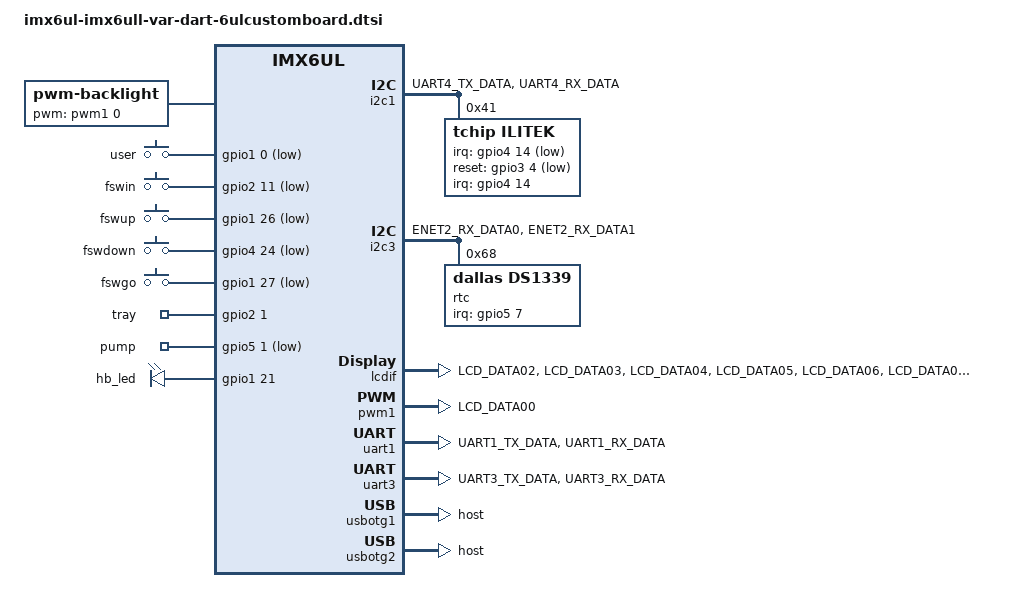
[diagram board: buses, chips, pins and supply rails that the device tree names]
/*
 * Copyright (C) 2015-2019 Variscite Ltd. - https://www.variscite.com
 *
 * This program is free software; you can redistribute it and/or modify
 * it under the terms of the GNU General Public License version 2 as
 * published by the Free Software Foundation.
 */

/ {
	backlight {
		compatible = "pwm-backlight";
		pwms = <&pwm1 0 20000>;
		brightness-levels = <0 4 8 16 32 64 128 255>;
		default-brightness-level = <6>;
		status = "okay";
	};

	chosen {
		stdout-path = &uart1;
	};

	keys {
		compatible = "gpio-keys";
		pinctrl-names = "default";
		pinctrl-0 = <&pinctrl_gpio_keys>;

		user {
			/*GPIO switch button on EVK*/
			gpios = <&gpio1 0 GPIO_ACTIVE_LOW>;
                        //gpios = <&gpio2 11 GPIO_ACTIVE_LOW>;
                        
		};
		/*FootSwitch In*/
                fswin {
			gpios = <&gpio2 11 GPIO_ACTIVE_LOW>;
		};
		/*FootSwitch Up*/
                fswup {
			gpios = <&gpio1 26 GPIO_ACTIVE_LOW>;
		};

		/*FootSwitch Down*/
                fswdown {
			gpios = <&gpio4 24 GPIO_ACTIVE_LOW>;
		};
                /*FootSwitch Go*/
                fswgo {
			gpios = <&gpio1 27 GPIO_ACTIVE_LOW>;
		};
		/*Tray sensor */
                tray {
			gpios = <&gpio2 1 GPIO_ACTIVE_HIGH>;
		};
                
		/*Pump Sensor */
                pump {
			gpios = <&gpio5 1 GPIO_ACTIVE_LOW>;
		};
	};

	leds {
		compatible = "gpio-leds";
		pinctrl-names = "default";
		pinctrl-0 = <&pinctrl_gpio_leds>;
		
		hb_led {
			gpios = <&gpio1 21 GPIO_ACTIVE_HIGH>;
			linux,default-trigger = "heartbeat";
		};

	};
};


&i2c1 {
	clock_frequency = <400000>;
	pinctrl-names = "default";
	pinctrl-0 = <&pinctrl_i2c1>;
	status = "okay";
	ilitek@41 {
		compatible = "tchip,ilitek";
		reg = <0x41>;
		pinctrl-names = "default";
		pinctrl-0 = <&pinctrl_ilitek_ts_gpio>;
		interrupt-parent = <&gpio4>;
                interrupts = <14 IRQ_TYPE_EDGE_FALLING>;
		vdd-supply;
		vcc_i2c-supply;
                ilitek,irq-gpio = <&gpio4 14 GPIO_ACTIVE_LOW>;
                ilitek,reset-gpio = <&gpio3 4 GPIO_ACTIVE_LOW>;
                ilitek,vbus = "vcc_i2c";
                ilitek,vdd = "vdd";
                ilitek,name = "ilitek_i2c";
        };	
};

&i2c2 {

};

/* DS1339 RTC module */
&i2c3 {
	clock_frequency = <400000>;
	pinctrl-names = "default";
	pinctrl-0 = <&pinctrl_i2c3>;
	status = "okay";
        rtc@68 {
		compatible = "dallas,ds1339";
		reg = <0x68>;
		pinctrl-names = "default";
		pinctrl-0 = <&pinctrl_rtc>;
		interrupt-parent = <&gpio5>;
		interrupts = <7 IRQ_TYPE_EDGE_FALLING>;
	};	
};

&iomuxc {
	/* Ilitek Touchscreen */
        pinctrl_ilitek_ts_gpio: ilitek_ts_gpiogrp {
		fsl,pins = <
			MX6UL_PAD_NAND_CE1_B__GPIO4_IO14	0x80000000
			MX6UL_PAD_LCD_RESET__GPIO3_IO04		0x80000000
		>;			
	};
	

	pinctrl_ft5x06_ts_gpio: ft5x06_ts_gpiogrp {
		fsl,pins = <
			MX6UL_PAD_LCD_RESET__GPIO3_IO04		0x80000000
		>;
	};

	pinctrl_gpio_keys: gpio_keysgrp {
		fsl,pins = <
			//MX6UL_PAD_GPIO1_IO00__GPIO1_IO00	0x17059 /* User Button		active low      */
			MX6UL_PAD_ENET2_TX_DATA0__GPIO2_IO11    0x17059 /* Foot Switch In 	active low	*/
                        MX6UL_PAD_UART3_CTS_B__GPIO1_IO26	0x17059 /* Foot Switch Up 	active low	*/
                        MX6UL_PAD_CSI_DATA03__GPIO4_IO24	0x17059 /* Foot Switch Down 	active low	*/
                        MX6UL_PAD_UART3_RTS_B__GPIO1_IO27	0x17059 /* Foot Switch Go 	active low	*/
			MX6UL_PAD_ENET1_RX_DATA1__GPIO2_IO01    0x17059 /* Tray sensor 		active high	*/
			MX6UL_PAD_SNVS_TAMPER1__GPIO5_IO01      0x17059 /* Pump Sensor		active low	*/
		>;
	};

	pinctrl_gpio_leds: gpio_ledsgrp {
		fsl,pins = <
			MX6UL_PAD_UART2_RX_DATA__GPIO1_IO21	0x1b0b0 /* Heartbeat LED */
		>;
	};

	pinctrl_i2c1: i2c1grp {
		fsl,pins = <
			MX6UL_PAD_UART4_TX_DATA__I2C1_SCL	0x4001b8b0
			MX6UL_PAD_UART4_RX_DATA__I2C1_SDA	0x4001b8b0
		>;
	};

	pinctrl_i2c3: i2c3grp {
		fsl,pins = <
			MX6UL_PAD_ENET2_RX_DATA0__I2C3_SCL	0x4001b8b0
			MX6UL_PAD_ENET2_RX_DATA1__I2C3_SDA	0x4001b8b0
		>;
	};

	pinctrl_lcdif_ctrl: lcdifctrlgrp {
		fsl,pins = <
			MX6UL_PAD_LCD_CLK__LCDIF_CLK		0x79
			MX6UL_PAD_LCD_ENABLE__LCDIF_ENABLE	0x79
		>;
	};

	pinctrl_lcdif_dat: lcdifdatgrp {
		fsl,pins = <
			MX6UL_PAD_LCD_DATA02__LCDIF_DATA02	0x79
			MX6UL_PAD_LCD_DATA03__LCDIF_DATA03	0x79
			MX6UL_PAD_LCD_DATA04__LCDIF_DATA04	0x79
			MX6UL_PAD_LCD_DATA05__LCDIF_DATA05	0x79
			MX6UL_PAD_LCD_DATA06__LCDIF_DATA06	0x79
			MX6UL_PAD_LCD_DATA07__LCDIF_DATA07	0x79
			MX6UL_PAD_LCD_DATA10__LCDIF_DATA10	0x79
			MX6UL_PAD_LCD_DATA11__LCDIF_DATA11	0x79
			MX6UL_PAD_LCD_DATA12__LCDIF_DATA12	0x79
			MX6UL_PAD_LCD_DATA13__LCDIF_DATA13	0x79
			MX6UL_PAD_LCD_DATA14__LCDIF_DATA14	0x79
			MX6UL_PAD_LCD_DATA15__LCDIF_DATA15	0x79
			MX6UL_PAD_LCD_DATA18__LCDIF_DATA18	0x79
			MX6UL_PAD_LCD_DATA19__LCDIF_DATA19	0x79
			MX6UL_PAD_LCD_DATA20__LCDIF_DATA20	0x79
			MX6UL_PAD_LCD_DATA21__LCDIF_DATA21	0x79
			MX6UL_PAD_LCD_DATA22__LCDIF_DATA22	0x79
			MX6UL_PAD_LCD_DATA23__LCDIF_DATA23	0x79
		>;
	};

	pinctrl_pwm1: pwm1grp {
		fsl,pins = <
			MX6UL_PAD_LCD_DATA00__PWM1_OUT		0x110b0
		>;
	};

	pinctrl_uart1: uart1grp {
		fsl,pins = <
			MX6UL_PAD_UART1_TX_DATA__UART1_DCE_TX   0x1b0b1
			MX6UL_PAD_UART1_RX_DATA__UART1_DCE_RX   0x1b0b1
		>;
	};

	pinctrl_uart3: uart3grp {
		fsl,pins = <
			MX6UL_PAD_UART3_TX_DATA__UART3_DCE_TX	0x1b0b1
			MX6UL_PAD_UART3_RX_DATA__UART3_DCE_RX	0x1b0b1
			//MX6UL_PAD_UART3_CTS_B__UART3_DCE_CTS	0x1b0b1
			//MX6UL_PAD_UART3_RTS_B__UART3_DCE_RTS	0x1b0b1
		>;
	};

	pinctrl_wdog: wdoggrp {
		fsl,pins = <
			MX6UL_PAD_GPIO1_IO08__WDOG1_WDOG_B	0x78b0
		>;
	};
};

&lcdif {
	pinctrl-names = "default";
	pinctrl-0 = <&pinctrl_lcdif_dat
		     &pinctrl_lcdif_ctrl>;
	display = <&display0>;
	status = "okay";

	display0: display {
		bits-per-pixel = <16>;
		bus-width = <24>;

		display-timings {
			native-mode = <&timing0>;
			timing0: timing0 {
				clock-frequency =<35000000>;
				hactive = <800>;
				vactive = <480>;
				hfront-porch = <40>;
				hback-porch = <40>;
				hsync-len = <48>;
				vback-porch = <29>;
				vfront-porch = <13>;
				vsync-len = <3>;
				hsync-active = <0>;
				vsync-active = <0>;
				de-active = <1>;
				pixelclk-active = <0>;
			};
		};
	};
};

&pwm1 {
	pinctrl-names = "default";
	pinctrl-0 = <&pinctrl_pwm1>;
	status = "okay";
};

/* Console UART */
&uart1 {
	pinctrl-names = "default";
	pinctrl-0 = <&pinctrl_uart1>;
	status = "okay";
};

/* ttymxc2 UART */
&uart3 {
	pinctrl-names = "default";
	pinctrl-0 = <&pinctrl_uart3>;
	//fsl,uart-has-rtscts;
	status = "okay";
};

&usbotg1 {
	dr_mode = "host";
	status = "okay";
};

&usbotg2 {
	dr_mode = "host";
	status = "okay";
};

&wdog1 {
	pinctrl-names = "default";
	pinctrl-0 = <&pinctrl_wdog>;
	fsl,ext-reset-output;
};
